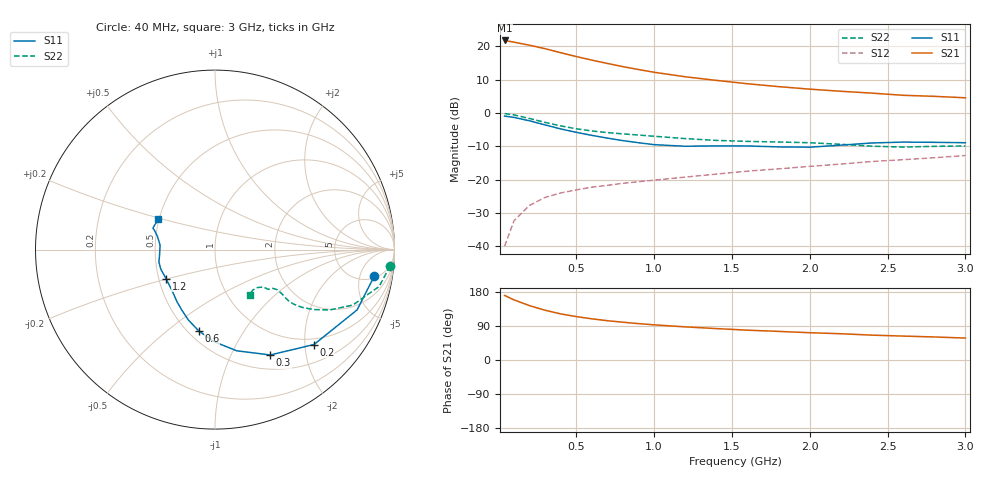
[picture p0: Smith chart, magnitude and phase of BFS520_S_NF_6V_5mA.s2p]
! Filename:  BFS520H.S2P  Version:  4.0
! Philips part #: BFS520  Date: Jun 1994
! Bias condition: Vce=6V, Ic=5mA
#  MHz  S  MA  R  50
! Freq  S11  S21  S12  S22  !GUM [dB]
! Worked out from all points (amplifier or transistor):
!   21 points, 40 MHz to 3 GHz, reference 50 ohm
!   highest |S21| = 21.8 dB at 40 MHz (marker M1)
!   |S21| within 3 dB of that: start of sweep to 343.9 MHz
!   unconditionally stable (mu >= 1): 1.068 GHz to end of sweep
!   at 300 MHz: K = 0.43, MSG = 22.3 dB, |S12| = -25.4 dB
!   at 1 GHz: K = 0.97, MSG = 16.2 dB, |S12| = -20.2 dB
!   at 3 GHz: K = 1.10, MAG = 6.8 dB, |S12| = -12.8 dB
!   lowest NFmin = 0.90 dB at 500 MHz
!   S11 on the Smith chart (normalised r, x): 40 MHz: 6, -9; 200 MHz: 0.87, -2.20; 300 MHz: 0.68, -1.43; 600 MHz: 0.56, -0.65; 1.2 GHz: 0.55, -0.20; 3 GHz: 0.50, +0.19
40  0.9 -9.4  12.31 170.3  0.01 84.3  0.98 -5.3
100  0.86 -23.0  11.61 158.7  0.024 75.8  0.938 -12.6
200  0.764 -43.8  10.44 143.4  0.041 65.3  0.828 -21.9
300  0.663 -62.3  9.258 131.3  0.054 59.4  0.723 -27.7
400  0.577 -77.8  8.062 121.7  0.063 56.4  0.641 -31.4
500  0.513 -90.6  7.058 114.5  0.07 54.9  0.58 -33.6
600  0.462 -101.3  6.235 108.7  0.077 54.9  0.538 -34.6
700  0.42 -110.6  5.554 103.7  0.082 55.5  0.508 -35.0
800  0.385 -118.6  4.976 99.7  0.088 56.3  0.486 -34.6
900  0.358 -126.5  4.503 96.0  0.093 57.2  0.467 -34.1
1000  0.335 -134.3  4.098 92.8  0.098 58.2  0.448 -33.5
1200  0.317 -149.3  3.504 87.4  0.109 60.3  0.413 -32.8
1400  0.321 -160.2  3.093 82.9  0.121 62.3  0.388 -33.8
1600  0.32 -167.6  2.753 78.7  0.134 63.6  0.375 -36.0
1800  0.31 -174.7  2.492 75.5  0.145 65.5  0.367 -36.9
2000  0.307 175.4  2.284 72.0  0.158 66.7  0.358 -37.1
2200  0.329 167.0  2.122 69.3  0.171 67.9  0.339 -38.0
2400  0.355 162.2  1.99 65.6  0.187 68.6  0.318 -41.6
2600  0.366 160.9  1.847 63.1  0.199 68.8  0.308 -47.1
2800  0.363 158.1  1.781 60.8  0.213 69.8  0.316 -50.9
3000  0.358 152.0  1.694 57.9  0.23 70.1  0.32 -52.5
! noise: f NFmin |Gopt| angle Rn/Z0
500  0.9  0.359  27  0.24
900  1.1  0.338  45  0.23
2000  1.85  0.277  161  0.13
